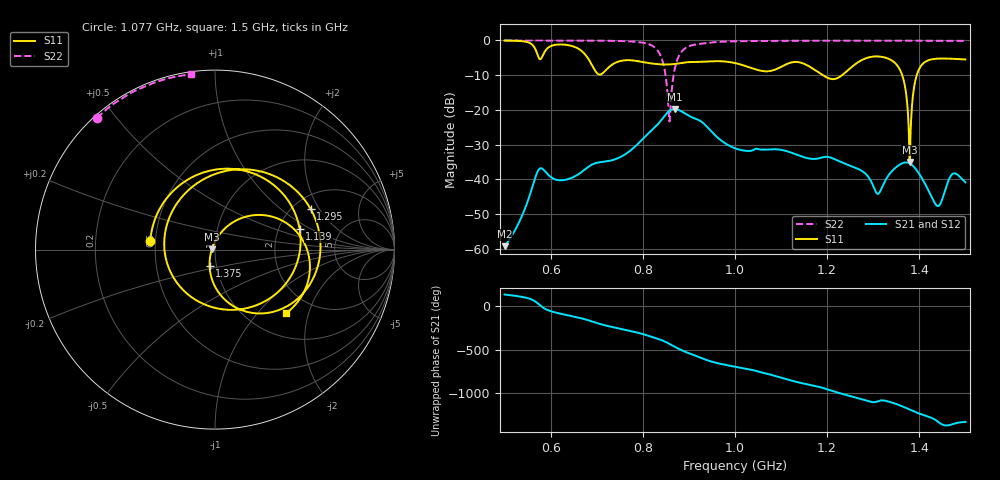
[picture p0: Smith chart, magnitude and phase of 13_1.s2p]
! TOUCHSTONE file generated by CST MICROWAVE STUDIO
! Date and time: Sat Nov 14 20:35:53 2020
! Project name: Scenario_1_Planar_Body_Tissue_Out_of_Line_v2.cst
! Parameters = {dy1=138.4; L_HA=400; Ltissue=700; MT=2.54; Rad_Dielectric=30; Rad_Lower=7.3; Rad_Upper=30; Wtissue=700; a_HA=580; a_WG=246; b_HA=500; b_WG=121; c_HA=0; c_WG=187; d_feed=85; dx1=173; h_feed=15; h_lower=18; h_upper=40; hfat=3; hgap=25; hmuscle=50; hskin=1.5}
! Header version: 2018
! Port assignment regex: !\s*Touchstone port\s*([0-9]+)\s*=\s*(CST MWS port|CST DS port)\s*([0-9]+|Zmin|Zmax)\s*\(\"(.*)\"\)(\s*mode\s*([0-9]+))?.*
! Touchstone port assignment:
! Touchstone port 1 = CST MWS port 1 ("")
! Touchstone port 2 = CST MWS port 2 ("")
# GHz S DB R 50
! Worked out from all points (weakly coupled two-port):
!   1003 points, 500 MHz to 1.5 GHz, reference 50 ohm
!   highest |S21| = -19.76 dB at 869 MHz (marker M1); lowest = -59.3 dB at 500 MHz (marker M2)
!   lowest |S11| = -35.0 dB at 1.379 GHz (marker M3), VSWR 1.04, Z = 48.3 + j0.166 ohm
!   |S11| at or under -10 dB: 1.19 GHz to 1.232 GHz (42.21 MHz wide, 3.48 % of centre); 1.363 GHz to 1.394 GHz (31.64 MHz wide, 2.3 % of centre)
!   |S22| runs from -23.4 to 0.0 dB; largest |S21 - S12| = 3.1e-05
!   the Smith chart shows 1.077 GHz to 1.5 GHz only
!   S11 on the Smith chart (normalised r, x): 1.077 GHz: 0.47, +0.05; 1.139 GHz: 2.61, +0.79; 1.295 GHz: 2.48, +1.68; 1.375 GHz: 0.93, -0.17; 1.5 GHz: 1.46, -1.45
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0.5  -0.05 -121.8  -59.26 128.7  -59.26 128.7  -0.01 151.1
0.575  -5.19 -163.3  -37.07 14.7  -37.07 14.7  -0.02 146.0
0.667  -3.03 110.4  -37.91 -143.9  -37.91 -143.9  -0.05 138.4
0.693  -7.93 27.5  -35.56 175.6  -35.56 175.6  -0.06 135.7
0.719  -8.66 -97.7  -34.87 135.4  -34.87 135.4  -0.10 132.5
0.761  -5.72 162.9  -32.86 86.4  -32.86 86.4  -0.22 125.3
0.834  -6.84 22.9  -23.91 -20.4  -23.91 -20.4  -3.27 83.3
0.857  -6.91 -35.8  -20.36 -73.3  -20.36 -73.3  -22.58 -20.3
0.869  -6.78 -68.9  -19.76 -108.0  -19.76 -108.0  -8.30 -149.7
0.906  -6.22 -175.0  -22.11 165.7  -22.11 165.7  -1.42 163.5
0.942  -6.04 94.2  -25.27 93.4  -25.27 93.4  -0.68 151.0
1  -6.52 -25.3  -31.06 23.0  -31.06 23.0  -0.24 140.2
1.077  -8.79 172.7  -31.36 -67.5  -31.36 -67.4  -0.14 131.8
1.139  -6.28 13.8  -33.16 -157.0  -33.16 -157.0  -0.09 126.4
1.167  -7.96 -46.2  -34.11 170.5  -34.11 170.5  -0.09 124.1
1.225  -10.67 162.1  -34.73 84.2  -34.73 84.2  -0.09 119.8
1.295  -4.74 22.8  -40.52 -18.8  -40.52 -18.8  -0.09 114.4
1.334  -5.33 -28.8  -38.71 -16.3  -38.71 -16.3  -0.09 111.6
1.375  -20.39 -108.4  -35.20 -97.6  -35.20 -97.6  -0.09 108.4
1.379  -34.99 174.5  -35.40 -107.2  -35.40 -107.2  -0.09 108.0
1.406  -6.94 15.6  -39.79 -164.1  -39.79 -164.1  -0.09 105.9
1.5  -5.48 -41.8  -40.88 112.1  -40.88 112.1  -0.12 97.9
